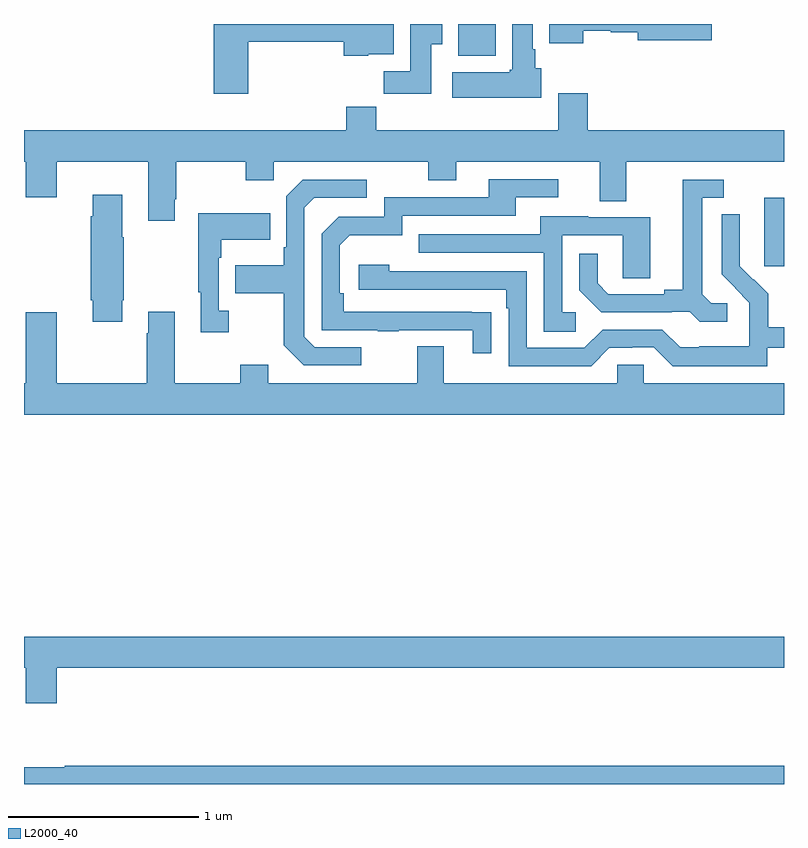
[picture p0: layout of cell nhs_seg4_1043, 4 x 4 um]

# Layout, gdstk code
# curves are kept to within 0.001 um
import gdstk
lib = gdstk.Library(unit=1e-6, precision=1e-09)
def R(c, l, rs):  # rectangles x0, y0, x1, y1
    for r in rs: c.add(gdstk.rectangle(r[:2], r[2:], *l))
def P(c, l, *ps):  # polygons
    for p in ps: c.add(gdstk.Polygon(p, *l))
L2000_40 = (2000, 40)

nhs_seg4_1043 = lib.new_cell('nhs_seg4_1043')
R(nhs_seg4_1043, L2000_40, [(168.896,773.625,169,773.986), (167.285,774.734,167.482,774.9)])
P(nhs_seg4_1043, L2000_40, [(166.181,774.807),(166.682,774.807),(166.682,774.734),(166.812,774.734),(166.812,774.74),(166.945,774.74),(166.945,774.9),(165.998,774.9),(165.998,774.534),(166.181,774.534)],
  [(167.722,774.666),(167.692,774.666),(167.692,774.766),(167.677,774.766),(167.677,774.9),(167.57,774.9),(167.57,774.66),(167.557,774.66),(167.557,774.646),(167.253,774.646),(167.253,774.512),(167.722,774.512)],
  [(167.944,774.864),(168.087,774.864),(168.087,774.856),(168.23,774.856),(168.23,774.814),(168.619,774.814),(168.619,774.9),(167.765,774.9),(167.765,774.8),(167.944,774.8)],
  [(167.143,774.793),(167.2,774.793),(167.2,774.9),(167.033,774.9),(167.033,774.652),(166.894,774.652),(166.894,774.534),(167.143,774.534)],
  [(165.793,773.977),(165.801,773.977),(165.801,774.176),(166.168,774.176),(166.168,774.077),(166.314,774.077),(166.314,774.176),(167.128,774.176),(167.128,774.077),(167.275,774.077),(167.275,774.176),(168.029,774.176),(168.029,773.968),(168.169,773.968),(168.169,774.176),(169,774.176),(169,774.34),(167.966,774.34),(167.966,774.535),(167.813,774.535),(167.813,774.34),(166.853,774.34),(166.853,774.464),(166.697,774.464),(166.697,774.34),(165,774.34),(165,774.176),(165.008,774.176),(165.008,773.988),(165.172,773.988),(165.172,774.176),(165.653,774.176),(165.653,773.865),(165.793,773.865)],
  [(167.459,773.384),(166.682,773.385),(166.682,773.482),(166.662,773.482),(166.662,773.736),(166.715,773.789),(166.992,773.789),(166.992,773.892),(167.587,773.892),(167.587,773.988),(167.812,773.988),(167.812,774.084),(167.447,774.084),(167.447,773.988),(166.896,773.988),(166.896,773.886),(166.656,773.886),(166.566,773.796),(166.566,773.289),(166.861,773.289),(166.861,773.284),(166.973,773.284),(166.973,773.289),(167.363,773.289),(167.363,773.166),(167.459,773.166)],
  [(168.7,773.43),(168.618,773.43),(168.571,773.477),(168.571,773.985),(168.682,773.985),(168.682,774.081),(168.467,774.081),(168.467,773.501),(168.371,773.501),(168.371,773.478),(168.076,773.478),(168.019,773.535),(168.019,773.692),(167.922,773.692),(167.922,773.498),(168.038,773.382),(168.41,773.382),(168.41,773.385),(168.504,773.385),(168.556,773.333),(168.7,773.333)],
  [(166.774,773.199),(166.53,773.199),(166.476,773.253),(166.476,773.934),(166.527,773.985),(166.804,773.985),(166.804,774.081),(166.467,774.081),(166.38,773.994),(166.38,773.725),(166.368,773.725),(166.368,773.629),(166.111,773.629),(166.111,773.482),(166.368,773.482),(166.368,773.209),(166.473,773.103),(166.774,773.103)],
  [(165.517,773.446),(165.525,773.446),(165.525,773.777),(165.517,773.777),(165.517,774.001),(165.362,774.001),(165.362,773.888),(165.35,773.888),(165.35,773.446),(165.362,773.446),(165.362,773.334),(165.517,773.334)],
  [(166.078,773.39),(166.026,773.39),(166.026,773.669),(166.039,773.669),(166.039,773.765),(166.295,773.765),(166.295,773.905),(165.918,773.905),(165.918,773.489),(165.929,773.489),(165.929,773.277),(166.078,773.277)],
  [(168.912,773.196),(169,773.196),(169,773.305),(168.917,773.305),(168.917,773.479),(168.84,773.556),(168.837,773.553),(168.767,773.624),(168.768,773.9),(168.672,773.9),(168.672,773.582),(168.818,773.434),(168.818,773.337),(168.816,773.337),(168.816,773.203),(168.553,773.203),(168.553,773.199),(168.453,773.199),(168.36,773.292),(168.045,773.292),(167.949,773.196),(167.646,773.196),(167.646,773.598),(166.922,773.598),(166.922,773.632),(166.761,773.632),(166.761,773.502),(167.537,773.502),(167.537,773.405),(167.55,773.405),(167.55,773.1),(167.985,773.1),(168.081,773.196),(168.2,773.196),(168.2,773.199),(168.315,773.199),(168.415,773.099),(168.912,773.099)],
  [(167.905,773.382),(167.832,773.382),(167.832,773.787),(168.15,773.787),(168.15,773.563),(168.295,773.563),(168.295,773.883),(167.971,773.883),(167.971,773.887),(167.717,773.887),(167.717,773.793),(167.077,773.793),(167.077,773.697),(167.736,773.697),(167.736,773.281),(167.905,773.281)],
  [(169,773.008),(168.261,773.008),(168.261,773.106),(168.123,773.106),(168.123,773.008),(167.209,773.008),(167.209,773.203),(167.069,773.203),(167.069,773.008),(166.285,773.008),(166.285,773.107),(166.138,773.107),(166.138,773.008),(165.793,773.008),(165.793,773.386),(165.653,773.386),(165.653,773.273),(165.646,773.273),(165.646,773.008),(165.172,773.008),(165.172,773.383),(165.008,773.383),(165.008,773.008),(165,773.008),(165,772.844),(169,772.844)],
  [(165.172,771.512),(169,771.512),(169,771.676),(165,771.676),(165,771.512),(165.008,771.512),(165.008,771.324),(165.172,771.324)],
  [(169,770.996),(165.214,770.996),(165.214,770.989),(165,770.989),(165,770.9),(169,770.9)])

lib.write_gds('nhs_seg4_1043.gds')
